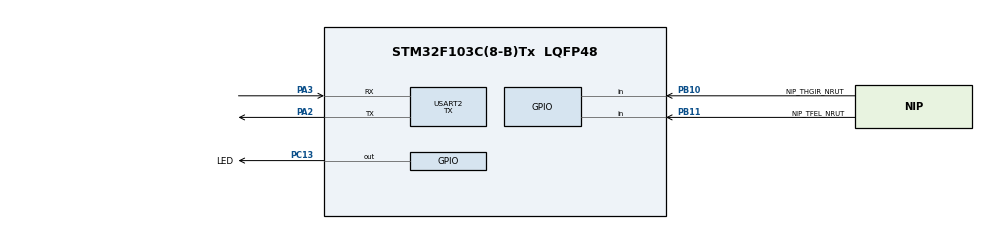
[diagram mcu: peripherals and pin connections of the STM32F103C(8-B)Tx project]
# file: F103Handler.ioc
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Mcu.Family=STM32F1
Mcu.Name=STM32F103C(8-B)Tx
Mcu.Package=LQFP48
NVIC.PriorityGroup=NVIC_PRIORITYGROUP_4
PA13.Mode=Serial_Wire
PA13.Signal=SYS_JTMS-SWDIO
PA14.Mode=Serial_Wire
PA14.Signal=SYS_JTCK-SWCLK
PA2.Mode=Asynchronous
PA2.Signal=USART2_TX
PA3.Mode=Asynchronous
PA3.Signal=USART2_RX
PB10.GPIO_Label=NIP_THGIR_NRUT
PB10.GPIO_PuPd=GPIO_PULLUP
PB10.Signal=GPIO_Input
PB11.GPIO_Label=NIP_TFEL_NRUT
PB11.GPIO_PuPd=GPIO_PULLUP
PB11.Signal=GPIO_Input
PC13-TAMPER-RTC.GPIO_Label=LED
PC13-TAMPER-RTC.GPIO_PuPd=GPIO_PULLDOWN
PC13-TAMPER-RTC.Signal=GPIO_Output
ProjectManager.HeapSize=0x200
ProjectManager.StackSize=0x400
ProjectManager.TargetToolchain=STM32CubeIDE
RCC.APB1Freq_Value=8000000
RCC.APB2Freq_Value=8000000
USART2.Mode=MODE_TX
USART2.VirtualMode=VM_ASYNC
board=custom

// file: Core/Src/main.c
/* USER CODE BEGIN Header */
/**
  ******************************************************************************
  * @file           : main.c
  * @brief          : Main program body
  ******************************************************************************
  * @attention
  *
  * Copyright (c) 2026 STMicroelectronics.
  * All rights reserved.
  *
  * This software is licensed under terms that can be found in the LICENSE file
  * in the root directory of this software component.
  * If no LICENSE file comes with this software, it is provided AS-IS.
  *
  * -------------Send Board STM32F103--------------
  * UART TX PIN = PA2
  * BUTTON LEFT/RIGHT = PB10/PB11
  ******************************************************************************
  */
/* USER CODE END Header */
#include "main.h"

UART_HandleTypeDef huart2;

/* USER CODE BEGIN PV */
#define UART_HEADER   0xAA
#define CMD_NONE      0x00
#define CMD_LEFT      0x01
#define CMD_RIGHT     0x02
uint32_t lastSendTick = 0;
#define SEND_INTERVAL_MS  15
/* USER CODE END PV */

void SystemClock_Config(void);
static void MX_GPIO_Init(void);
static void MX_USART2_UART_Init(void);

int main(void)
{

  /* MCU Configuration--------------------------------------------------------*/

  /* Reset of all peripherals, Initializes the Flash interface and the Systick. */
  HAL_Init();

  /* Configure the system clock */
  SystemClock_Config();

  /* Initialize all configured peripherals */
  MX_GPIO_Init();
  MX_USART2_UART_Init();

  /* Infinite loop */
  while (1)
  {

    /* USER CODE BEGIN 3 */
	  if (HAL_GetTick() - lastSendTick >= SEND_INTERVAL_MS)
	      {
	          lastSendTick = HAL_GetTick();

	          uint8_t leftPressed  = (HAL_GPIO_ReadPin(GPIOB, NIP_TFEL_NRUT_Pin) == GPIO_PIN_RESET);
	          uint8_t rightPressed = (HAL_GPIO_ReadPin(GPIOB, NIP_THGIR_NRUT_Pin) == GPIO_PIN_RESET);

	          uint8_t cmd = CMD_NONE;
	          if (leftPressed && !rightPressed)       cmd = CMD_LEFT;
	          else if (rightPressed && !leftPressed)  cmd = CMD_RIGHT;

	          uint8_t packet[2] = { UART_HEADER, cmd };
	          HAL_UART_Transmit(&huart2, packet, 2, 10);

	          // (tuỳ chọn) nhấp nháy LED khi có nhấn nút để debug bằng mắt
	          HAL_GPIO_WritePin(LED_GPIO_Port, LED_Pin, cmd != CMD_NONE ? GPIO_PIN_RESET : GPIO_PIN_SET);
	      }
  }
  /* USER CODE END 3 */
}

void SystemClock_Config(void)
{
  RCC_OscInitTypeDef RCC_OscInitStruct = {0};
  RCC_ClkInitTypeDef RCC_ClkInitStruct = {0};

  /** Initializes the RCC Oscillators according to the specified parameters
  * in the RCC_OscInitTypeDef structure.
  */
  RCC_OscInitStruct.OscillatorType = RCC_OSCILLATORTYPE_HSI;
  RCC_OscInitStruct.HSIState = RCC_HSI_ON;
  RCC_OscInitStruct.HSICalibrationValue = RCC_HSICALIBRATION_DEFAULT;
  RCC_OscInitStruct.PLL.PLLState = RCC_PLL_NONE;
  if (HAL_RCC_OscConfig(&RCC_OscInitStruct) != HAL_OK)
  {
    Error_Handler();
  }

  /** Initializes the CPU, AHB and APB buses clocks
  */
  RCC_ClkInitStruct.ClockType = RCC_CLOCKTYPE_HCLK|RCC_CLOCKTYPE_SYSCLK
                              |RCC_CLOCKTYPE_PCLK1|RCC_CLOCKTYPE_PCLK2;
  RCC_ClkInitStruct.SYSCLKSource = RCC_SYSCLKSOURCE_HSI;
  RCC_ClkInitStruct.AHBCLKDivider = RCC_SYSCLK_DIV1;
  RCC_ClkInitStruct.APB1CLKDivider = RCC_HCLK_DIV1;
  RCC_ClkInitStruct.APB2CLKDivider = RCC_HCLK_DIV1;

  if (HAL_RCC_ClockConfig(&RCC_ClkInitStruct, FLASH_LATENCY_0) != HAL_OK)
  {
    Error_Handler();
  }
}

static void MX_USART2_UART_Init(void)
{

  huart2.Instance = USART2;
  huart2.Init.BaudRate = 115200;
  huart2.Init.WordLength = UART_WORDLENGTH_8B;
  huart2.Init.StopBits = UART_STOPBITS_1;
  huart2.Init.Parity = UART_PARITY_NONE;
  huart2.Init.Mode = UART_MODE_TX;
  huart2.Init.HwFlowCtl = UART_HWCONTROL_NONE;
  huart2.Init.OverSampling = UART_OVERSAMPLING_16;
  if (HAL_UART_Init(&huart2) != HAL_OK)
  {
    Error_Handler();
  }

}

static void MX_GPIO_Init(void)
{
  GPIO_InitTypeDef GPIO_InitStruct = {0};

  /* GPIO Ports Clock Enable */
  __HAL_RCC_GPIOC_CLK_ENABLE();
  __HAL_RCC_GPIOA_CLK_ENABLE();
  __HAL_RCC_GPIOB_CLK_ENABLE();

  /*Configure GPIO pin Output Level */
  HAL_GPIO_WritePin(LED_GPIO_Port, LED_Pin, GPIO_PIN_RESET);

  /*Configure GPIO pin : LED_Pin */
  GPIO_InitStruct.Pin = LED_Pin;
  GPIO_InitStruct.Mode = GPIO_MODE_OUTPUT_PP;
  GPIO_InitStruct.Pull = GPIO_PULLDOWN;
  GPIO_InitStruct.Speed = GPIO_SPEED_FREQ_LOW;
  HAL_GPIO_Init(LED_GPIO_Port, &GPIO_InitStruct);

  /*Configure GPIO pins : NIP_THGIR_NRUT_Pin NIP_TFEL_NRUT_Pin */
  GPIO_InitStruct.Pin = NIP_THGIR_NRUT_Pin|NIP_TFEL_NRUT_Pin;
  GPIO_InitStruct.Mode = GPIO_MODE_INPUT;
  GPIO_InitStruct.Pull = GPIO_PULLUP;
  HAL_GPIO_Init(GPIOB, &GPIO_InitStruct);

}

void Error_Handler(void)
{
  __disable_irq();
  while (1)
  {
  }
}
